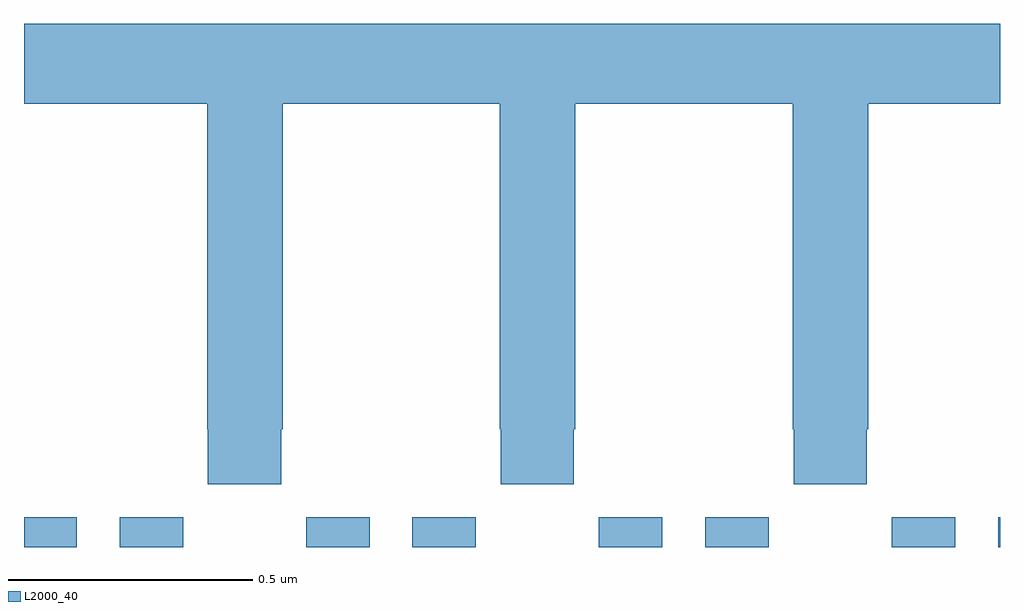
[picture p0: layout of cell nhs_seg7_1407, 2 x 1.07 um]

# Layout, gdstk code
import gdstk
lib = gdstk.Library(unit=1e-6, precision=1e-09)
def R(c, l, rs):  # rectangles x0, y0, x1, y1
    for r in rs: c.add(gdstk.rectangle(r[:2], r[2:], *l))
def P(c, l, *ps):  # polygons
    for p in ps: c.add(gdstk.Polygon(p, *l))
L2000_40 = (2000, 40)

nhs_seg7_1407 = lib.new_cell('nhs_seg7_1407')
R(nhs_seg7_1407, L2000_40, [(130,1041,130.108,1041.061), (130.196,1041,130.326,1041.061), (130.578,1041,130.708,1041.061), (130.796,1041,130.926,1041.061), (131.178,1041,131.308,1041.061), (131.396,1041,131.526,1041.061), (131.778,1041,131.908,1041.061), (131.996,1041,132,1041.061)])
P(nhs_seg7_1407, L2000_40, [(130.527,1041.241),(130.53,1041.241),(130.53,1041.908),(130.975,1041.908),(130.975,1041.241),(130.977,1041.241),(130.977,1041.129),(131.127,1041.129),(131.127,1041.241),(131.13,1041.241),(131.13,1041.908),(131.575,1041.908),(131.575,1041.241),(131.577,1041.241),(131.577,1041.129),(131.727,1041.129),(131.727,1041.241),(131.73,1041.241),(131.73,1041.908),(132,1041.908),(132,1042.072),(130,1042.072),(130,1041.908),(130.375,1041.908),(130.375,1041.241),(130.377,1041.241),(130.377,1041.129),(130.527,1041.129)])

lib.write_gds('nhs_seg7_1407.gds')
